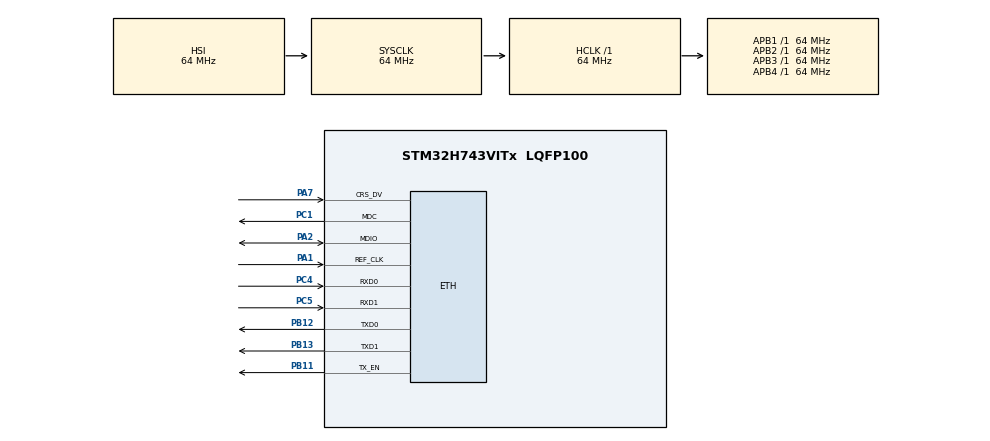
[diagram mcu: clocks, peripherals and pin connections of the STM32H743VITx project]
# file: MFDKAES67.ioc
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CORTEX_M7.default_mode_Activation=1
ETH.MediaInterface=HAL_ETH_RMII_MODE
FREERTOS.Tasks01=defaultTask,24,128,StartDefaultTask,Default,NULL,Dynamic,NULL,NULL
FREERTOS.configUSE_NEWLIB_REENTRANT=1
LWIP.BSP.number=1
LWIP.SYS_LIGHTWEIGHT_PROT=0
LWIP.Version=v2.1.2_Cube
LWIP0.BSP.STBoard=false
LWIP0.BSP.api=BSP_COMPONENT_DRIVER
LWIP0.BSP.component=LAN8742
LWIP0.BSP.instance=LAN8742
LWIP0.BSP.name=Driver_PHY
LWIP0.BSP.semaphore=S_LAN8742
LWIP0.BSP.solution=LAN8742
Mcu.Family=STM32H7
Mcu.Name=STM32H743VITx
Mcu.Package=LQFP100
NVIC.ETH_IRQn=true\:5\:0\:false\:false\:true\:true\:true\:true\:true
NVIC.PriorityGroup=NVIC_PRIORITYGROUP_4
NVIC.TIM6_DAC_IRQn=true\:15\:0\:false\:false\:true\:false\:false\:true\:true
NVIC.TimeBase=TIM6_DAC_IRQn
NVIC.TimeBaseIP=TIM6
PA1.Mode=RMII
PA1.Signal=ETH_REF_CLK
PA2.Mode=RMII
PA2.Signal=ETH_MDIO
PA7.Mode=RMII
PA7.Signal=ETH_CRS_DV
PB11.Mode=RMII
PB11.Signal=ETH_TX_EN
PB12.Mode=RMII
PB12.Signal=ETH_TXD0
PB13.Mode=RMII
PB13.Signal=ETH_TXD1
PC1.Mode=RMII
PC1.Signal=ETH_MDC
PC4.Mode=RMII
PC4.Signal=ETH_RXD0
PC5.Mode=RMII
PC5.Signal=ETH_RXD1
ProjectManager.HeapSize=0x200
ProjectManager.StackSize=0x400
ProjectManager.TargetToolchain=STM32CubeIDE
RCC.ADCFreq_Value=129000000
RCC.APB1Freq_Value=64000000
RCC.APB2Freq_Value=64000000
RCC.APB3Freq_Value=64000000
RCC.APB4Freq_Value=64000000
RCC.CortexFreq_Value=64000000
RCC.HCLKFreq_Value=64000000
RCC.SYSCLKFreq_VALUE=64000000
RCC.USBFreq_Value=129000000
VP_FREERTOS_VS_CMSIS_V2.Mode=CMSIS_V2
VP_LWIP_VS_Enabled.Mode=Enabled
VP_MEMORYMAP_VS_MEMORYMAP.Mode=CurAppReg
VP_SYS_VS_tim6.Mode=TIM6
board=custom

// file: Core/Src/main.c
/* USER CODE BEGIN Header */
/**
  ******************************************************************************
  * @file           : main.c
  * @brief          : Main program body
  ******************************************************************************
  * @attention
  *
  * Copyright (c) 2025 STMicroelectronics.
  * All rights reserved.
  *
  * This software is licensed under terms that can be found in the LICENSE file
  * in the root directory of this software component.
  * If no LICENSE file comes with this software, it is provided AS-IS.
  *
  ******************************************************************************
  */
/* USER CODE END Header */
#include "main.h"
#include "cmsis_os.h"
#include "lwip.h"

/* USER CODE BEGIN Includes */
//#include "lwip/apps/lwiperf.h"
#include "lwip/udp.h"
#include <string.h>
#include <stdint.h>
#include <math.h>
/* USER CODE END Includes */

/* Definitions for defaultTask */
osThreadId_t defaultTaskHandle;
const osThreadAttr_t defaultTask_attributes = {
  .name = "defaultTask",
  .stack_size = 128 * 4,
  .priority = (osPriority_t) osPriorityNormal,
};
/* USER CODE BEGIN PV */
#define PI 3.14159265358979323846
/* --- Audio / RTP configuration (edit these defines to scale) --- */
#define SAMPLE_RATE         48000U
#define CHANNELS            16U      /* change as needed */
#define BIT_DEPTH           24U      /* bits per sample: 8,16,24,32 supported */
#define FRAME_DURATION_MS   1U       /* frame duration in ms */
#define FRAME_SAMPLES       ((SAMPLE_RATE * FRAME_DURATION_MS) / 1000U)

#define RTP_HEADER_SIZE     12U

/* Network / MTU tuning */
#define ETHERNET_MTU        1500U
#define IP_HEADER_LEN       20U
#define UDP_HEADER_LEN      8U
#define ETHERNET_HEADER_LEN 14U

/* safe UDP payload: slightly below MTU to account for headers */
#define SAFE_UDP_PAYLOAD     (ETHERNET_MTU - IP_HEADER_LEN - UDP_HEADER_LEN - ETHERNET_HEADER_LEN)

/* max payload per RTP fragment */
#define MAX_RTP_PAYLOAD     (SAFE_UDP_PAYLOAD - RTP_HEADER_SIZE)

/* Derived */
#define BYTES_PER_SAMPLE    (((BIT_DEPTH) + 7U) / 8U)
#define FRAME_PAYLOAD_BYTES (FRAME_SAMPLES * CHANNELS * BYTES_PER_SAMPLE)

#if (BYTES_PER_SAMPLE < 1) || (BYTES_PER_SAMPLE > 4)
#error "BYTES_PER_SAMPLE must be 1..4 (BIT_DEPTH 1..32)"
#endif

#define RTP_PAYLOAD_TYPE    96U  /* dynamic payload type */

/* RTP state */
static uint16_t rtp_seq_num = 0;
static uint32_t rtp_timestamp = 0;
static uint32_t rtp_ssrc = 0x12345678;

/* --- Sine tables for different bit depths --- */
//#define SINE_TABLE_SIZE 232

/* Frequencies for each channel (Hz). Edit per-channel freqs here */
static const float channel_freq[CHANNELS] = {
    100.0f, 150.0f, 200.0f, 250.0f,
    300.0f, 350.0f, 400.0f, 450.0f,
    500.0f,  600.0f,  700.0f,  800.0f,
    900.0f, 1000.0f, 2000.0f, 4000.0f
};

/* Phase accumulators and increments sized by CHANNELS */
static uint32_t phase_acc[CHANNELS];
static uint32_t phase_inc[CHANNELS];

/* Transmit scratch buffer for header + max payload per RTP fragment */
static uint8_t rtp_tx_buf[RTP_HEADER_SIZE + MAX_RTP_PAYLOAD];
/* USER CODE END PV */

void SystemClock_Config(void);
static void MPU_Config(void);
static void MX_GPIO_Init(void);
void StartDefaultTask(void *argument);

/* USER CODE BEGIN 0 */
/* Initialize phase increments (Q16.16 fixed point) */
static void init_phase_increments(void)
{
    for (unsigned ch = 0; ch < CHANNELS; ++ch) {
        double phase_step = (double)channel_freq[ch] / (double)SAMPLE_RATE; // fraction of full cycle per sample
        phase_inc[ch] = (uint32_t)(phase_step * 65536.0 * 256.0 + 0.5); // scaled for 256-step sine
        phase_acc[ch] = 0;
    }
}

/* Generate FRAME_SAMPLES frames of interleaved samples into int32 container */
static void generate_sine_frame_int32(int32_t *buffer)
{
    for (unsigned i = 0; i < FRAME_SAMPLES; ++i) {
        for (unsigned ch = 0; ch < CHANNELS; ++ch) {
            // Compute phase as 0..1
            double phase = (double)phase_acc[ch] / (65536.0 * 256.0);
            double s = sin(2.0 * PI * phase);

            // Scale to bit depth with rounding
            int32_t sample;
            switch (BIT_DEPTH) {
                case 8:  sample = (int32_t)(s * 127.0 + (s >= 0 ? 0.5 : -0.5)); break;
                case 16: sample = (int32_t)(s * 32767.0 + (s >= 0 ? 0.5 : -0.5)); break;
                case 24: sample = (int32_t)(s * 8388607.0 + (s >= 0 ? 0.5 : -0.5)); break;
                case 32: sample = (int32_t)(s * 2147483647.0 + (s >= 0 ? 0.5 : -0.5)); break;
                default: sample = (int32_t)(s * 32767.0 + (s >= 0 ? 0.5 : -0.5)); break;
            }

            buffer[i * CHANNELS + ch] = sample;

            // advance phase
            phase_acc[ch] += phase_inc[ch];
            if (phase_acc[ch] >= (256 << 16))
                phase_acc[ch] -= (256 << 16);
        }
    }
}

/* Pack int32 samples (interleaved) into big-endian bytes with BYTES_PER_SAMPLE bytes per sample.
   dst length must be (samples_count * BYTES_PER_SAMPLE). */
static void pack_samples_big_endian(const int32_t *src, uint8_t *dst, unsigned samples_count)
{
    uint32_t mask = 0xFFFFFFFFUL;
    if (BYTES_PER_SAMPLE < 4) {
        mask = (1UL << (BYTES_PER_SAMPLE * 8)) - 1UL;
    }

    for (unsigned i = 0; i < samples_count; ++i) {
        uint32_t val = (uint32_t)src[i] & mask;
        /* write MSB first */
        for (int b = (int)BYTES_PER_SAMPLE - 1; b >= 0; --b) {
            dst[i * BYTES_PER_SAMPLE + ((BYTES_PER_SAMPLE - 1) - b)] = (uint8_t)((val >> (8 * b)) & 0xFF);
        }
    }
}

/* Send one RTP datagram (header already in rtp_buf[0..11], payload at rtp_buf+12) */
static void send_rtp_datagram(struct udp_pcb *pcb, const ip_addr_t *dst_ip, u16_t dst_port, uint8_t *rtp_buf, uint16_t payload_len)
{
    uint16_t total_len = RTP_HEADER_SIZE + payload_len;
    struct pbuf *p = pbuf_alloc(PBUF_TRANSPORT, total_len, PBUF_RAM);
    if (!p) {
        /* allocation failed - drop */
        return;
    }

    pbuf_take(p, rtp_buf, total_len);
    udp_sendto(pcb, p, dst_ip, dst_port);
    pbuf_free(p);
}

/* Fragment and send a full frame payload (big-endian packed audio) of length payload_len.
   samples_per_frame is the sample-frame count (used to advance rtp_timestamp once). */
static void send_rtp_frame_fragmented(struct udp_pcb *pcb, const ip_addr_t *dst_ip, u16_t dst_port,
                                      uint8_t *payload_ptr, uint32_t payload_len, uint32_t samples_per_frame)
{
    uint32_t offset = 0;
    uint16_t seq = rtp_seq_num;
    const uint8_t payload_type = (uint8_t)RTP_PAYLOAD_TYPE;

    while (offset < payload_len) {
        uint32_t remaining = payload_len - offset;
        uint16_t chunk = (remaining > MAX_RTP_PAYLOAD) ? (uint16_t)MAX_RTP_PAYLOAD : (uint16_t)remaining;

        // Build RTP header
        rtp_tx_buf[0] = 0x80; // V=2
        // Marker bit set only on last fragment of the frame
        uint8_t marker = ((offset + chunk) >= payload_len) ? 0x80 : 0x00;
        rtp_tx_buf[1] = marker | (payload_type & 0x7F);

        rtp_tx_buf[2] = (uint8_t)(seq >> 8);
        rtp_tx_buf[3] = (uint8_t)(seq & 0xFF);

        rtp_tx_buf[4] = (uint8_t)(rtp_timestamp >> 24);
        rtp_tx_buf[5] = (uint8_t)(rtp_timestamp >> 16);
        rtp_tx_buf[6] = (uint8_t)(rtp_timestamp >> 8);
        rtp_tx_buf[7] = (uint8_t)(rtp_timestamp & 0xFF);

        rtp_tx_buf[8]  = (uint8_t)(rtp_ssrc >> 24);
        rtp_tx_buf[9]  = (uint8_t)(rtp_ssrc >> 16);
        rtp_tx_buf[10] = (uint8_t)(rtp_ssrc >> 8);
        rtp_tx_buf[11] = (uint8_t)(rtp_ssrc & 0xFF);

        // Copy payload chunk
        memcpy(&rtp_tx_buf[RTP_HEADER_SIZE], payload_ptr + offset, chunk);

        // Send RTP packet
        send_rtp_datagram(pcb, dst_ip, dst_port, rtp_tx_buf, chunk);

        offset += chunk;
        seq++;

        // Only advance timestamp on last fragment
        if (offset >= payload_len) {
            rtp_timestamp += samples_per_frame;
        }
    }

    rtp_seq_num = seq;
}
/* USER CODE END 0 */

int main(void)
{

  /* MPU Configuration--------------------------------------------------------*/
  MPU_Config();

  /* MCU Configuration--------------------------------------------------------*/

  /* Reset of all peripherals, Initializes the Flash interface and the Systick. */
  HAL_Init();

  /* USER CODE BEGIN Init */
  //NVIC_SetPriorityGrouping(0);
  /* USER CODE END Init */

  /* Configure the system clock */
  SystemClock_Config();

  /* Initialize all configured peripherals */
  MX_GPIO_Init();

  /* Init scheduler */
  osKernelInitialize();

  /* Create the thread(s) */
  /* creation of defaultTask */
  defaultTaskHandle = osThreadNew(StartDefaultTask, NULL, &defaultTask_attributes);

  /* Start scheduler */
  osKernelStart();

  /* We should never get here as control is now taken by the scheduler */

  /* Infinite loop */
  while (1)
  {

  }
}

void SystemClock_Config(void)
{
  RCC_OscInitTypeDef RCC_OscInitStruct = {0};
  RCC_ClkInitTypeDef RCC_ClkInitStruct = {0};

  /** Supply configuration update enable
  */
  HAL_PWREx_ConfigSupply(PWR_LDO_SUPPLY);

  /** Configure the main internal regulator output voltage
  */
  __HAL_PWR_VOLTAGESCALING_CONFIG(PWR_REGULATOR_VOLTAGE_SCALE3);

  while(!__HAL_PWR_GET_FLAG(PWR_FLAG_VOSRDY)) {}

  /** Initializes the RCC Oscillators according to the specified parameters
  * in the RCC_OscInitTypeDef structure.
  */
  RCC_OscInitStruct.OscillatorType = RCC_OSCILLATORTYPE_HSI;
  RCC_OscInitStruct.HSIState = RCC_HSI_DIV1;
  RCC_OscInitStruct.HSICalibrationValue = RCC_HSICALIBRATION_DEFAULT;
  RCC_OscInitStruct.PLL.PLLState = RCC_PLL_NONE;
  if (HAL_RCC_OscConfig(&RCC_OscInitStruct) != HAL_OK)
  {
    Error_Handler();
  }

  /** Initializes the CPU, AHB and APB buses clocks
  */
  RCC_ClkInitStruct.ClockType = RCC_CLOCKTYPE_HCLK|RCC_CLOCKTYPE_SYSCLK
                              |RCC_CLOCKTYPE_PCLK1|RCC_CLOCKTYPE_PCLK2
                              |RCC_CLOCKTYPE_D3PCLK1|RCC_CLOCKTYPE_D1PCLK1;
  RCC_ClkInitStruct.SYSCLKSource = RCC_SYSCLKSOURCE_HSI;
  RCC_ClkInitStruct.SYSCLKDivider = RCC_SYSCLK_DIV1;
  RCC_ClkInitStruct.AHBCLKDivider = RCC_HCLK_DIV1;
  RCC_ClkInitStruct.APB3CLKDivider = RCC_APB3_DIV1;
  RCC_ClkInitStruct.APB1CLKDivider = RCC_APB1_DIV1;
  RCC_ClkInitStruct.APB2CLKDivider = RCC_APB2_DIV1;
  RCC_ClkInitStruct.APB4CLKDivider = RCC_APB4_DIV1;

  if (HAL_RCC_ClockConfig(&RCC_ClkInitStruct, FLASH_LATENCY_1) != HAL_OK)
  {
    Error_Handler();
  }
}

static void MX_GPIO_Init(void)
{

  /* GPIO Ports Clock Enable */
  __HAL_RCC_GPIOC_CLK_ENABLE();
  __HAL_RCC_GPIOA_CLK_ENABLE();
  __HAL_RCC_GPIOB_CLK_ENABLE();

}

void StartDefaultTask(void *argument)
{
  /* init code for LWIP */
  MX_LWIP_Init();
  /* USER CODE BEGIN 5 */
  osDelay(1000); // Small delay to ensure network initialization

      // --- Setup UDP connection ---
      ip_addr_t dst_ip;
      IP_ADDR4(&dst_ip, 192, 168, 1, 1);
      struct udp_pcb *udp = udp_new();
      if (!udp) {
          for (;;) { osDelay(1000); } // allocation failed
      }
      udp_connect(udp, &dst_ip, 55151);

      /* Prepare buffers */
      static int32_t audio_frame[FRAME_SAMPLES * CHANNELS];       // int32 samples
      uint32_t full_payload_bytes = FRAME_PAYLOAD_BYTES;
      uint8_t *packed_payload = pvPortMalloc(full_payload_bytes);
      if (!packed_payload) {
          for (;;) { osDelay(1000); }
      }

      /* initialize DDS */
      init_phase_increments();
      rtp_ssrc = (uint32_t)HAL_GetTick() ^ 0xA5A5A5A5U;

      const uint32_t frame_interval_ms = FRAME_DURATION_MS;
      uint32_t next_tick = HAL_GetTick();

      /* Main audio streaming loop */
      for (;;) {
          /* Wait until next scheduled tick */
          uint32_t now = HAL_GetTick();
          if ((int32_t)(next_tick - now) > 0) {
              osDelay(next_tick - now);
          }

          next_tick += frame_interval_ms;

          /* Generate interleaved int32 samples */
          generate_sine_frame_int32(audio_frame);

          /* Pack to big-endian bytes */
          pack_samples_big_endian(audio_frame, packed_payload, FRAME_SAMPLES * CHANNELS);

          /* Send (fragments if needed) */
          send_rtp_frame_fragmented(udp, &dst_ip, 55151, packed_payload, full_payload_bytes, FRAME_SAMPLES);
      }

      vPortFree(packed_payload); // never reached
  /* USER CODE END 5 */
}

 /* MPU Configuration */

void MPU_Config(void)
{
  MPU_Region_InitTypeDef MPU_InitStruct = {0};

  /* Disables the MPU */
  HAL_MPU_Disable();

  /** Initializes and configures the Region and the memory to be protected
  */
  MPU_InitStruct.Enable = MPU_REGION_ENABLE;
  MPU_InitStruct.Number = MPU_REGION_NUMBER0;
  MPU_InitStruct.BaseAddress = 0x0;
  MPU_InitStruct.Size = MPU_REGION_SIZE_4GB;
  MPU_InitStruct.SubRegionDisable = 0x87;
  MPU_InitStruct.TypeExtField = MPU_TEX_LEVEL0;
  MPU_InitStruct.AccessPermission = MPU_REGION_NO_ACCESS;
  MPU_InitStruct.DisableExec = MPU_INSTRUCTION_ACCESS_DISABLE;
  MPU_InitStruct.IsShareable = MPU_ACCESS_SHAREABLE;
  MPU_InitStruct.IsCacheable = MPU_ACCESS_NOT_CACHEABLE;
  MPU_InitStruct.IsBufferable = MPU_ACCESS_NOT_BUFFERABLE;

  HAL_MPU_ConfigRegion(&MPU_InitStruct);
  /* Enables the MPU */
  HAL_MPU_Enable(MPU_PRIVILEGED_DEFAULT);

}

void HAL_TIM_PeriodElapsedCallback(TIM_HandleTypeDef *htim)
{
  if (htim->Instance == TIM6)
  {
    HAL_IncTick();
  }
}

void Error_Handler(void)
{
  __disable_irq();
  while (1)
  {
  }
}
